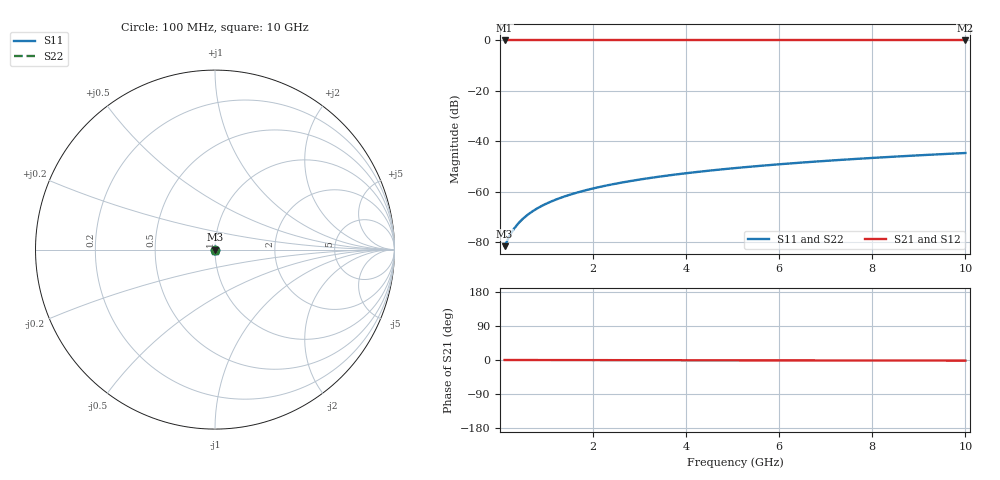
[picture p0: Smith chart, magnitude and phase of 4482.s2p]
# Hz S RI R 50.00
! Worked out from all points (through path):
!   100 points, 100 MHz to 10 GHz, reference 50 ohm
!   highest |S21| = 0.00 dB at 100 MHz (marker M1); lowest = 0.0 dB at 10 GHz (marker M2)
!   lowest |S11| = -81.6 dB at 100 MHz (marker M3), VSWR 1.00, Z = 50 - j0.00581 ohm
!   |S11| at or under -10 dB: start of sweep to end of sweep
!   |S22| runs from -81.6 to -44.6 dB; largest |S21 - S12| = 0
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1e8  6.02e-05 -5.81e-05  0.9999 -0.000281  0.9999 -0.000281  6.02e-05 -5.81e-05
2e8  6.04e-05 -0.000116  0.9999 -0.000562  0.9999 -0.000562  6.04e-05 -0.000116
3e8  6.04e-05 -0.000174  0.9999 -0.000843  0.9999 -0.000843  6.04e-05 -0.000174
4e8  6.04e-05 -0.000232  0.9999 -0.00112  0.9999 -0.00112  6.04e-05 -0.000232
5e8  6.03e-05 -0.00029  0.9999 -0.00141  0.9999 -0.00141  6.03e-05 -0.00029
6e8  6.02e-05 -0.000349  0.9999 -0.00169  0.9999 -0.00169  6.02e-05 -0.000349
7e8  6e-05 -0.000407  0.9999 -0.00197  0.9999 -0.00197  6e-05 -0.000407
9e8  5.94e-05 -0.000523  0.9999 -0.00253  0.9999 -0.00253  5.94e-05 -0.000523
1e9  5.91e-05 -0.000581  0.9999 -0.00281  0.9999 -0.00281  5.91e-05 -0.000581
1.2e9  5.83e-05 -0.000698  0.9999 -0.00337  0.9999 -0.00337  5.83e-05 -0.000698
1.5e9  5.69e-05 -0.000872  0.9999 -0.00422  0.9999 -0.00422  5.69e-05 -0.000872
1.8e9  5.51e-05 -0.00105  0.9999 -0.00506  0.9999 -0.00506  5.51e-05 -0.00105
2.1e9  5.3e-05 -0.00122  0.9999 -0.00591  0.9999 -0.00591  5.3e-05 -0.00122
2.5e9  4.97e-05 -0.00146  0.9999 -0.00704  0.9999 -0.00704  4.97e-05 -0.00146
2.9e9  4.59e-05 -0.00169  0.9999 -0.00816  0.9999 -0.00816  4.59e-05 -0.00169
3.4e9  4.03e-05 -0.00198  0.9999 -0.00957  0.9999 -0.00957  4.03e-05 -0.00198
4.2e9  2.96e-05 -0.00245  0.9999 -0.0118  0.9999 -0.0118  2.96e-05 -0.00245
5.1e9  1.5e-05 -0.00298  0.9998 -0.0144  0.9998 -0.0144  1.5e-05 -0.00298
5.9e9  -2.48e-07 -0.00345  0.9998 -0.0166  0.9998 -0.0166  -2.48e-07 -0.00345
6.7e9  -1.77e-05 -0.00392  0.9997 -0.0189  0.9997 -0.0189  -1.77e-05 -0.00392
8.4e9  -6.2e-05 -0.00493  0.9996 -0.0238  0.9996 -0.0238  -6.2e-05 -0.00493
1e10  -0.000113 -0.00588  0.9995 -0.0283  0.9995 -0.0283  -0.000113 -0.00588
